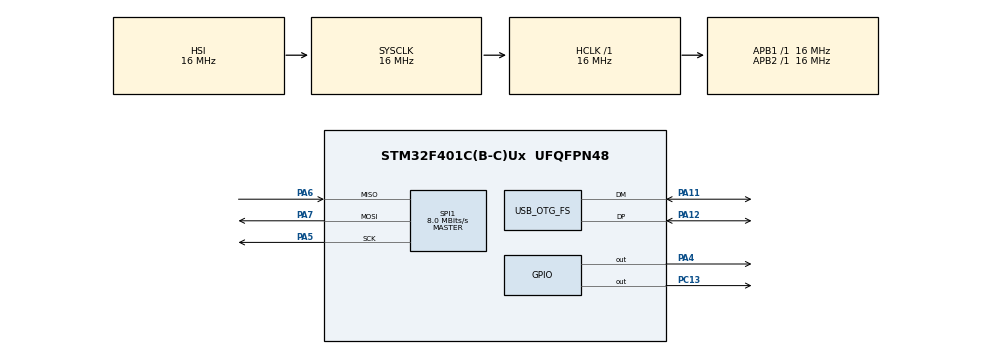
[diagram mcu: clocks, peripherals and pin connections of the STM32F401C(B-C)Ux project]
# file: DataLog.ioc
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FATFS._FS_REENTRANT=0
FATFS._MAX_LFN=50
FATFS._MAX_SS=4096
FATFS._USE_LFN=1
FREERTOS.Tasks01=defaultTask,24,128,StartDefaultTask,Default,NULL,Dynamic,NULL,NULL
FREERTOS.configUSE_NEWLIB_REENTRANT=1
Mcu.Family=STM32F4
Mcu.Name=STM32F401C(B-C)Ux
Mcu.Package=UFQFPN48
NVIC.OTG_FS_IRQn=true\:5\:0\:false\:false\:true\:true\:false\:true\:true
NVIC.PriorityGroup=NVIC_PRIORITYGROUP_4
NVIC.TIM1_UP_TIM10_IRQn=true\:15\:0\:false\:false\:true\:false\:false\:true\:true
NVIC.TimeBase=TIM1_UP_TIM10_IRQn
NVIC.TimeBaseIP=TIM1
PA11.Mode=Device_Only
PA11.Signal=USB_OTG_FS_DM
PA12.Mode=Device_Only
PA12.Signal=USB_OTG_FS_DP
PA13.Mode=Serial_Wire
PA13.Signal=SYS_JTMS-SWDIO
PA14.Mode=Serial_Wire
PA14.Signal=SYS_JTCK-SWCLK
PA4.Signal=GPIO_Output
PA5.Mode=Full_Duplex_Master
PA5.Signal=SPI1_SCK
PA6.Mode=Full_Duplex_Master
PA6.Signal=SPI1_MISO
PA7.Mode=Full_Duplex_Master
PA7.Signal=SPI1_MOSI
PC13-ANTI_TAMP.Signal=GPIO_Output
PC14-OSC32_IN.Mode=LSE-External-Oscillator
PC14-OSC32_IN.Signal=RCC_OSC32_IN
PC15-OSC32_OUT.Mode=LSE-External-Oscillator
PC15-OSC32_OUT.Signal=RCC_OSC32_OUT
PH0\ -\ OSC_IN.Mode=HSE-External-Oscillator
PH0\ -\ OSC_IN.Signal=RCC_OSC_IN
PH1\ -\ OSC_OUT.Mode=HSE-External-Oscillator
PH1\ -\ OSC_OUT.Signal=RCC_OSC_OUT
ProjectManager.HeapSize=0x200
ProjectManager.StackSize=0x400
ProjectManager.TargetToolchain=STM32CubeIDE
RCC.48MHZClocksFreq_Value=48000000
RCC.AHBFreq_Value=16000000
RCC.APB1Freq_Value=16000000
RCC.APB2Freq_Value=16000000
RCC.CortexFreq_Value=16000000
RCC.HSE_VALUE=25000000
RCC.HSI_VALUE=16000000
RCC.PLLM=15
RCC.PLLN=144
RCC.PLLQ=5
RCC.SYSCLKFreq_VALUE=16000000
RCC.VCOOutputFreq_Value=240000000
SPI1.CalculateBaudRate=8.0 MBits/s
SPI1.Direction=SPI_DIRECTION_2LINES
SPI1.Mode=SPI_MODE_MASTER
SPI1.VirtualType=VM_MASTER
USB_DEVICE.CLASS_NAME_FS=CDC
USB_DEVICE.VirtualMode=Cdc
USB_DEVICE.VirtualModeFS=Cdc_FS
USB_OTG_FS.VirtualMode=Device_Only
VP_FATFS_VS_Generic.Mode=User_defined
VP_FREERTOS_VS_CMSIS_V2.Mode=CMSIS_V2
VP_SYS_VS_tim1.Mode=TIM1
VP_USB_DEVICE_VS_USB_DEVICE_CDC_FS.Mode=CDC_FS
board=custom

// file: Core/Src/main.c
/* USER CODE BEGIN Header */
/**
  ******************************************************************************
  * @file           : main.c
  * @brief          : Main program body
  ******************************************************************************
  * @attention
  *
  * Copyright (c) 2022 STMicroelectronics.
  * All rights reserved.
  *
  * This software is licensed under terms that can be found in the LICENSE file
  * in the root directory of this software component.
  * If no LICENSE file comes with this software, it is provided AS-IS.
  *
  ******************************************************************************
  */
/* USER CODE END Header */
#include "main.h"
#include "cmsis_os.h"
#include "fatfs.h"
#include "spi.h"
#include "usb_device.h"
#include "gpio.h"

/* USER CODE BEGIN Includes */
#include "SDcard.h"
/* USER CODE END Includes */

void SystemClock_Config(void);
void MX_FREERTOS_Init(void);

int main(void)
{

  /* MCU Configuration--------------------------------------------------------*/

  /* Reset of all peripherals, Initializes the Flash interface and the Systick. */
  HAL_Init();

  /* Configure the system clock */
  SystemClock_Config();

  /* USER CODE BEGIN SysInit */
//  int i = SDdcard_ieie();
  /* USER CODE END SysInit */

  /* Initialize all configured peripherals */
  MX_GPIO_Init();
  MX_SPI1_Init();
  MX_FATFS_Init();

  /* Init scheduler */
  osKernelInitialize();  /* Call init function for freertos objects (in freertos.c) */
  MX_FREERTOS_Init();

  /* Start scheduler */
  osKernelStart();

  /* We should never get here as control is now taken by the scheduler */
  /* Infinite loop */
  while (1)
  {

  }
}

void SystemClock_Config(void)
{
  RCC_OscInitTypeDef RCC_OscInitStruct = {0};
  RCC_ClkInitTypeDef RCC_ClkInitStruct = {0};

  /** Configure the main internal regulator output voltage
  */
  __HAL_RCC_PWR_CLK_ENABLE();
  __HAL_PWR_VOLTAGESCALING_CONFIG(PWR_REGULATOR_VOLTAGE_SCALE2);

  /** Initializes the RCC Oscillators according to the specified parameters
  * in the RCC_OscInitTypeDef structure.
  */
  RCC_OscInitStruct.OscillatorType = RCC_OSCILLATORTYPE_HSI|RCC_OSCILLATORTYPE_HSE;
  RCC_OscInitStruct.HSEState = RCC_HSE_ON;
  RCC_OscInitStruct.HSIState = RCC_HSI_ON;
  RCC_OscInitStruct.HSICalibrationValue = RCC_HSICALIBRATION_DEFAULT;
  RCC_OscInitStruct.PLL.PLLState = RCC_PLL_ON;
  RCC_OscInitStruct.PLL.PLLSource = RCC_PLLSOURCE_HSE;
  RCC_OscInitStruct.PLL.PLLM = 15;
  RCC_OscInitStruct.PLL.PLLN = 144;
  RCC_OscInitStruct.PLL.PLLP = RCC_PLLP_DIV2;
  RCC_OscInitStruct.PLL.PLLQ = 5;
  if (HAL_RCC_OscConfig(&RCC_OscInitStruct) != HAL_OK)
  {
    Error_Handler();
  }

  /** Initializes the CPU, AHB and APB buses clocks
  */
  RCC_ClkInitStruct.ClockType = RCC_CLOCKTYPE_HCLK|RCC_CLOCKTYPE_SYSCLK
                              |RCC_CLOCKTYPE_PCLK1|RCC_CLOCKTYPE_PCLK2;
  RCC_ClkInitStruct.SYSCLKSource = RCC_SYSCLKSOURCE_HSI;
  RCC_ClkInitStruct.AHBCLKDivider = RCC_SYSCLK_DIV1;
  RCC_ClkInitStruct.APB1CLKDivider = RCC_HCLK_DIV1;
  RCC_ClkInitStruct.APB2CLKDivider = RCC_HCLK_DIV1;

  if (HAL_RCC_ClockConfig(&RCC_ClkInitStruct, FLASH_LATENCY_0) != HAL_OK)
  {
    Error_Handler();
  }
}

void HAL_TIM_PeriodElapsedCallback(TIM_HandleTypeDef *htim)
{
  if (htim->Instance == TIM1) {
    HAL_IncTick();
  }
}

void Error_Handler(void)
{
  __disable_irq();
  while (1)
  {
  }
}

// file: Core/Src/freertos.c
/* USER CODE BEGIN Header */
/**
  ******************************************************************************
  * File Name          : freertos.c
  * Description        : Code for freertos applications
  ******************************************************************************
  * @attention
  *
  * Copyright (c) 2022 STMicroelectronics.
  * All rights reserved.
  *
  * This software is licensed under terms that can be found in the LICENSE file
  * in the root directory of this software component.
  * If no LICENSE file comes with this software, it is provided AS-IS.
  *
  ******************************************************************************
  */
/* USER CODE END Header */

#include "FreeRTOS.h"
#include "task.h"
#include "main.h"
#include "cmsis_os.h"

/* USER CODE BEGIN Includes */
#include "SDcard.h"
/* USER CODE END Includes */

/* USER CODE BEGIN Variables */
static const data_type_t one_1[] = {CORRENTE, A_CTRL_TRACAO};
static const data_type_t one_10[] = {VEL_ANG_MOTOR, A_CTRL_VEL, S_POINT_VEL};
static const data_type_t one_100[] = {A_CTRL_POSI};
static const data_type_t three_1[] = {G_CTRL_TRACAO};
static const data_type_t three_10[] = {ACEL_LIN, VEL_ANG_GIRO, CAMPO_MAG, G_CTRL_VEL, ANG_ROT_BASE};
static const data_type_t three_100[] = {GPS, G_CTRL_POSI};
static const data_type_t three_ap[] = {G_CTRL_TRACAO_RX, G_CTRL_VEL_RX, G_CTRL_POSI_RX};

/* USER CODE END Variables */
/* Definitions for defaultTask */
osThreadId_t defaultTaskHandle;
const osThreadAttr_t defaultTask_attributes = {
  .name = "defaultTask",
  .stack_size = 128 * 8,
  .priority = (osPriority_t) osPriorityNormal,
};

/* USER CODE BEGIN FunctionPrototypes */
void send_data(void* arg);
static bool start_send_data_tasks(void);
/* USER CODE END FunctionPrototypes */

void StartDefaultTask(void *argument);

extern void MX_USB_DEVICE_Init(void);
void MX_FREERTOS_Init(void); /* (MISRA C 2004 rule 8.1) */

void MX_FREERTOS_Init(void) {

  /* Create the thread(s) */
  /* creation of defaultTask */
  defaultTaskHandle = osThreadNew(StartDefaultTask, NULL, &defaultTask_attributes);

}

void StartDefaultTask(void *argument)
{
  /* init code for USB_DEVICE */
  MX_USB_DEVICE_Init();
  /* USER CODE BEGIN StartDefaultTask */

  vTaskDelay(3000);
  if(!SDcard_start()){
	  USB_PRINT("error starting sd card\n");
	  return;
  }
  if(!start_send_data_tasks()){
	  USB_PRINT("error starting send data tasks\n");
  }

  /* Infinite loop */
  for(;;)
  {
    vTaskDelay(1000);
  }
  /* USER CODE END StartDefaultTask */
}

/* USER CODE BEGIN Application */
void send_data(void* arg){
	uint32_t settings_in_bits = (uint32_t)arg;
	QueueHandle_t SDcard_queue = SDcard_get_queue_handle();
	uint16_t period_ms = 0;
	uint8_t array_size = 0;
	data_type_t type = 0;
	char buf [35];
	int n = 0;

	if(settings_in_bits>>31){
		array_size = 3;
	} else {
		array_size = 1;
	}

	period_ms = (settings_in_bits<<1)>>16;
	type = (settings_in_bits<<16)>>16;
	srand(type);
	TickType_t LastWakeTime = xTaskGetTickCount();
	for(;;){
		if(n == 3) break;
		vTaskDelayUntil(&LastWakeTime, pdMS_TO_TICKS(period_ms));
		SD_data_t data = {
			.value = {rand()%100,rand()%100,rand()%100},
			.data_type = type,
			.timestamp = LastWakeTime,
			.array_size = array_size,
		};

		if(xQueueSend(SDcard_queue, (void*)&data, pdMS_TO_TICKS(period_ms)/2) != pdTRUE){
			sprintf(buf, "fail send data to queue - %d\n", data.data_type);
			USB_PRINT(buf);
		}
		n++;
	}
	vTaskDelete(NULL);
}

static bool start_send_data_tasks(void){
	BaseType_t ret = pdTRUE;
	uint32_t settings_in_bits = 0UL;

	settings_in_bits = 0<<31; //1 element array
	settings_in_bits += 1<<15; // time in ms
	for(int i = 0; i < sizeof(one_1)/sizeof(one_1[0]); i++){
	  settings_in_bits += one_1[i]; //type of data
	  ret = xTaskCreate(send_data, "send_data", 128*2, (void*)settings_in_bits, 25, NULL);
	  if(ret != pdPASS) return false;
	  settings_in_bits = (settings_in_bits>>15)<<15;
	}

	settings_in_bits = 0<<31; //1 element array
	settings_in_bits += 10<<15; // time in ms
	for(int i = 0; i < sizeof(one_10)/sizeof(one_10[0]); i++){
	  settings_in_bits += one_10[i]; //type of data
	  ret = xTaskCreate(send_data, "send_data", 128*2, (void*)settings_in_bits, 25, NULL);
	  if(ret != pdPASS) return false;
	  settings_in_bits = (settings_in_bits>>15)<<15;
	}

	settings_in_bits = 0<<31; //1 element array
	settings_in_bits += 100<<15; // time in ms
	for(int i = 0; i < sizeof(one_100)/sizeof(one_100[0]); i++){
	  settings_in_bits += one_100[i]; //type of data
	  ret = xTaskCreate(send_data, "send_data", 128*2, (void*)settings_in_bits, 25, NULL);
	  if(ret != pdPASS) return false;
	  settings_in_bits = (settings_in_bits>>15)<<15;
	}

	settings_in_bits = 1<<31; //3 element array
	settings_in_bits += 1<<15; // time in ms
	for(int i = 0; i < sizeof(three_1)/sizeof(three_1[0]); i++){
	  settings_in_bits += three_1[i]; //type of data
	  ret = xTaskCreate(send_data, "send_data", 128*2, (void*)settings_in_bits, 25, NULL);
	  if(ret != pdPASS) return false;
	  settings_in_bits = (settings_in_bits>>15)<<15;
	}
	settings_in_bits = 1<<31; //3 element array
	settings_in_bits += 10<<15; // time in ms
	for(int i = 0; i < sizeof(three_10)/sizeof(three_10[0]); i++){
	  settings_in_bits += three_10[i]; //type of data
	  ret = xTaskCreate(send_data, "send_data", 128*2, (void*)settings_in_bits, 25, NULL);
	  if(ret != pdPASS) return false;
	  settings_in_bits = (settings_in_bits>>15)<<15;
	}

	settings_in_bits = 1<<31; //3 element array
	settings_in_bits += 100<<15; // time in ms
	for(int i = 0; i < sizeof(three_100)/sizeof(three_100[0]); i++){
	  settings_in_bits += three_100[i]; //type of data
	  ret = xTaskCreate(send_data, "send_data", 128*2, (void*)settings_in_bits, 25, NULL);
	  if(ret != pdPASS) return false;
	  settings_in_bits = (settings_in_bits>>15)<<15;
	}

	settings_in_bits = 1<<31; //3 element array
	settings_in_bits += rand()%1000<<15; // time in ms
	for(int i = 0; i < sizeof(three_ap)/sizeof(three_ap[0]); i++){
	  settings_in_bits += three_ap[i]; //type of data
	  ret = xTaskCreate(send_data, "send_data", 128*2, (void*)settings_in_bits, 25, NULL);
	  if(ret != pdPASS) return false;
	  settings_in_bits = (settings_in_bits>>15)<<15;
	}
	return true;
}

/* USER CODE END Application */
